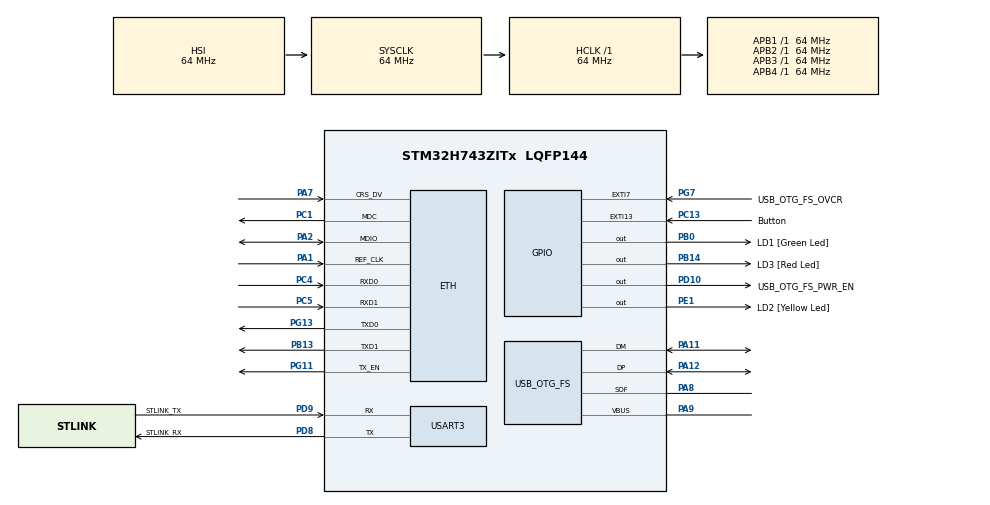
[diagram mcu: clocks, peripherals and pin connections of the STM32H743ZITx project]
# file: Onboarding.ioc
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ETH.MediaInterface=HAL_ETH_RMII_MODE
Mcu.Family=STM32H7
Mcu.Name=STM32H743ZITx
Mcu.Package=LQFP144
NVIC.EXTI15_10_IRQn=true\:0\:0\:false\:false\:true\:true\:true\:true
NVIC.EXTI9_5_IRQn=true\:0\:0\:false\:false\:true\:true\:true\:true
NVIC.PriorityGroup=NVIC_PRIORITYGROUP_4
NVIC.TIM16_IRQn=true\:0\:0\:false\:false\:true\:true\:true\:true
PA1.Mode=RMII
PA1.Signal=ETH_REF_CLK
PA11.Mode=Device_Only
PA11.Signal=USB_OTG_FS_DM
PA12.Mode=Device_Only
PA12.Signal=USB_OTG_FS_DP
PA2.Mode=RMII
PA2.Signal=ETH_MDIO
PA7.Mode=RMII
PA7.Signal=ETH_CRS_DV
PA8.Mode=Activate_SOF_FS
PA8.Signal=USB_OTG_FS_SOF
PA9.Mode=Activate_VBUS
PA9.Signal=USB_OTG_FS_VBUS
PB0.GPIO_Label=LD1 [Green Led]
PB0.Signal=GPIO_Output
PB13.Mode=RMII
PB13.Signal=ETH_TXD1
PB14.GPIO_Label=LD3 [Red Led]
PB14.Signal=GPIO_Output
PC1.Mode=RMII
PC1.Signal=ETH_MDC
PC13.GPIO_Label=Button
PC13.GPIO_PuPd=GPIO_NOPULL
PC13.Signal=GPXTI13
PC14-OSC32_IN\ (OSC32_IN).Mode=LSE-External-Oscillator
PC14-OSC32_IN\ (OSC32_IN).Signal=RCC_OSC32_IN
PC15-OSC32_OUT\ (OSC32_OUT).Mode=LSE-External-Oscillator
PC15-OSC32_OUT\ (OSC32_OUT).Signal=RCC_OSC32_OUT
PC4.Mode=RMII
PC4.Signal=ETH_RXD0
PC5.Mode=RMII
PC5.Signal=ETH_RXD1
PD10.GPIO_Label=USB_OTG_FS_PWR_EN
PD10.Signal=GPIO_Output
PD8.GPIO_Label=STLINK_RX
PD8.Mode=Asynchronous
PD8.Signal=USART3_TX
PD9.GPIO_Label=STLINK_TX
PD9.Mode=Asynchronous
PD9.Signal=USART3_RX
PE1.GPIO_Label=LD2 [Yellow Led]
PE1.Signal=GPIO_Output
PG11.Mode=RMII
PG11.Signal=ETH_TX_EN
PG13.Mode=RMII
PG13.Signal=ETH_TXD0
PG7.GPIO_Label=USB_OTG_FS_OVCR
PG7.Signal=GPXTI7
PH0-OSC_IN\ (PH0).Mode=HSE-External-Clock-Source
PH0-OSC_IN\ (PH0).Signal=RCC_OSC_IN
PH1-OSC_OUT\ (PH1).Signal=RCC_OSC_OUT
ProjectManager.HeapSize=0x200
ProjectManager.StackSize=0x400
ProjectManager.TargetToolchain=STM32CubeIDE
RCC.ADCFreq_Value=16125000
RCC.APB1Freq_Value=64000000
RCC.APB2Freq_Value=64000000
RCC.APB3Freq_Value=64000000
RCC.APB4Freq_Value=64000000
RCC.CortexFreq_Value=64000000
RCC.DIVM1=1
RCC.DIVN1=24
RCC.DIVQ1=4
RCC.HCLKFreq_Value=64000000
RCC.HSE_VALUE=8000000
RCC.PLLFRACN=0
RCC.PWR_Regulator_Voltage_Scale=PWR_REGULATOR_VOLTAGE_SCALE2
RCC.SYSCLKFreq_VALUE=64000000
RCC.USBFreq_Value=48000000
TIM16.Period=1250-1
TIM16.Prescaler=6400-1
USART3.VirtualMode-Asynchronous=VM_ASYNC
USB_OTG_FS.VirtualMode=Device_Only
VP_TIM16_VS_ClockSourceINT.Mode=Enable_Timer
board=NUCLEO-H743ZI2

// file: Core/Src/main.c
/* USER CODE BEGIN Header */
/**
  ******************************************************************************
  * @file           : main.c
  * @brief          : Main program body
  ******************************************************************************
  * @attention
  *
  * Copyright (c) 2022 STMicroelectronics.
  * All rights reserved.
  *
  * This software is licensed under terms that can be found in the LICENSE file
  * in the root directory of this software component.
  * If no LICENSE file comes with this software, it is provided AS-IS.
  *
  ******************************************************************************
  */
/* USER CODE END Header */
#include "main.h"
#include "string.h"

#if defined ( __ICCARM__ ) /*!< IAR Compiler */
#pragma location=0x30000000
ETH_DMADescTypeDef  DMARxDscrTab[ETH_RX_DESC_CNT]; /* Ethernet Rx DMA Descriptors */
#pragma location=0x30000200
ETH_DMADescTypeDef  DMATxDscrTab[ETH_TX_DESC_CNT]; /* Ethernet Tx DMA Descriptors */

#elif defined ( __CC_ARM )  /* MDK ARM Compiler */

__attribute__((at(0x30000000))) ETH_DMADescTypeDef  DMARxDscrTab[ETH_RX_DESC_CNT]; /* Ethernet Rx DMA Descriptors */
__attribute__((at(0x30000200))) ETH_DMADescTypeDef  DMATxDscrTab[ETH_TX_DESC_CNT]; /* Ethernet Tx DMA Descriptors */

#elif defined ( __GNUC__ ) /* GNU Compiler */
ETH_DMADescTypeDef DMARxDscrTab[ETH_RX_DESC_CNT] __attribute__((section(".RxDecripSection"))); /* Ethernet Rx DMA Descriptors */
ETH_DMADescTypeDef DMATxDscrTab[ETH_TX_DESC_CNT] __attribute__((section(".TxDecripSection")));   /* Ethernet Tx DMA Descriptors */

#endif

ETH_TxPacketConfig TxConfig;

ETH_HandleTypeDef heth;

TIM_HandleTypeDef htim16;

UART_HandleTypeDef huart3;

PCD_HandleTypeDef hpcd_USB_OTG_FS;

void SystemClock_Config(void);
static void MX_GPIO_Init(void);
static void MX_ETH_Init(void);
static void MX_USART3_UART_Init(void);
static void MX_USB_OTG_FS_PCD_Init(void);
static void MX_TIM16_Init(void);

/* USER CODE BEGIN 0 */
uint8_t cnt = 0; //LED Count
uint8_t cycles = 0; //Clock count
uint8_t update = 0; //Update the current pin (1/0)
/* USER CODE END 0 */

int main(void)
{

  /* MCU Configuration--------------------------------------------------------*/

  /* Reset of all peripherals, Initializes the Flash interface and the Systick. */
  HAL_Init();

  /* Configure the system clock */
  SystemClock_Config();

  /* Initialize all configured peripherals */
  MX_GPIO_Init();
  MX_ETH_Init();
  MX_USART3_UART_Init();
  MX_USB_OTG_FS_PCD_Init();
  MX_TIM16_Init();

  /* Infinite loop */
  /* USER CODE BEGIN WHILE */
  HAL_TIM_Base_Start_IT(&htim16);
  while (1)
  {
    /* USER CODE END WHILE */

    /* USER CODE BEGIN 3 */
	  if(!update) continue;
	  update = 0;
  	  if(cnt == 0){
  		  //HAL_GPIO_TogglePin(GPIOB, GPIO_PIN_0);
  		  //Toggle GPIOB Pin 0
  		  GPIOB->ODR ^= 1;
  	  }
  	  else if(cnt == 1){
  		  //Toggle GPIOE Pin 1
  		  HAL_GPIO_TogglePin(GPIOE, GPIO_PIN_1);
  		  //GPIOE->ODR ^= 1<<1;
  	  }
  	  else{
  		  //HAL_GPIO_TogglePin(GPIOB, GPIO_PIN_14);
  		  //Toggle GPIOB Pin 14
  		  GPIOB->ODR ^= 1<<14;
  	  }
  }
  /* USER CODE END 3 */
}

void SystemClock_Config(void)
{
  RCC_OscInitTypeDef RCC_OscInitStruct = {0};
  RCC_ClkInitTypeDef RCC_ClkInitStruct = {0};

  /** Supply configuration update enable
  */
  HAL_PWREx_ConfigSupply(PWR_LDO_SUPPLY);

  /** Configure the main internal regulator output voltage
  */
  __HAL_PWR_VOLTAGESCALING_CONFIG(PWR_REGULATOR_VOLTAGE_SCALE2);

  while(!__HAL_PWR_GET_FLAG(PWR_FLAG_VOSRDY)) {}

  /** Initializes the RCC Oscillators according to the specified parameters
  * in the RCC_OscInitTypeDef structure.
  */
  RCC_OscInitStruct.OscillatorType = RCC_OSCILLATORTYPE_HSI|RCC_OSCILLATORTYPE_HSE;
  RCC_OscInitStruct.HSEState = RCC_HSE_BYPASS;
  RCC_OscInitStruct.HSIState = RCC_HSI_DIV1;
  RCC_OscInitStruct.HSICalibrationValue = RCC_HSICALIBRATION_DEFAULT;
  RCC_OscInitStruct.PLL.PLLState = RCC_PLL_ON;
  RCC_OscInitStruct.PLL.PLLSource = RCC_PLLSOURCE_HSE;
  RCC_OscInitStruct.PLL.PLLM = 1;
  RCC_OscInitStruct.PLL.PLLN = 24;
  RCC_OscInitStruct.PLL.PLLP = 2;
  RCC_OscInitStruct.PLL.PLLQ = 4;
  RCC_OscInitStruct.PLL.PLLR = 2;
  RCC_OscInitStruct.PLL.PLLRGE = RCC_PLL1VCIRANGE_3;
  RCC_OscInitStruct.PLL.PLLVCOSEL = RCC_PLL1VCOWIDE;
  RCC_OscInitStruct.PLL.PLLFRACN = 0;
  if (HAL_RCC_OscConfig(&RCC_OscInitStruct) != HAL_OK)
  {
    Error_Handler();
  }

  /** Initializes the CPU, AHB and APB buses clocks
  */
  RCC_ClkInitStruct.ClockType = RCC_CLOCKTYPE_HCLK|RCC_CLOCKTYPE_SYSCLK
                              |RCC_CLOCKTYPE_PCLK1|RCC_CLOCKTYPE_PCLK2
                              |RCC_CLOCKTYPE_D3PCLK1|RCC_CLOCKTYPE_D1PCLK1;
  RCC_ClkInitStruct.SYSCLKSource = RCC_SYSCLKSOURCE_HSI;
  RCC_ClkInitStruct.SYSCLKDivider = RCC_SYSCLK_DIV1;
  RCC_ClkInitStruct.AHBCLKDivider = RCC_HCLK_DIV1;
  RCC_ClkInitStruct.APB3CLKDivider = RCC_APB3_DIV1;
  RCC_ClkInitStruct.APB1CLKDivider = RCC_APB1_DIV1;
  RCC_ClkInitStruct.APB2CLKDivider = RCC_APB2_DIV1;
  RCC_ClkInitStruct.APB4CLKDivider = RCC_APB4_DIV1;

  if (HAL_RCC_ClockConfig(&RCC_ClkInitStruct, FLASH_LATENCY_1) != HAL_OK)
  {
    Error_Handler();
  }
}

static void MX_ETH_Init(void)
{

   static uint8_t MACAddr[6];

  heth.Instance = ETH;
  MACAddr[0] = 0x00;
  MACAddr[1] = 0x80;
  MACAddr[2] = 0xE1;
  MACAddr[3] = 0x00;
  MACAddr[4] = 0x00;
  MACAddr[5] = 0x00;
  heth.Init.MACAddr = &MACAddr[0];
  heth.Init.MediaInterface = HAL_ETH_RMII_MODE;
  heth.Init.TxDesc = DMATxDscrTab;
  heth.Init.RxDesc = DMARxDscrTab;
  heth.Init.RxBuffLen = 1524;

  if (HAL_ETH_Init(&heth) != HAL_OK)
  {
    Error_Handler();
  }

  memset(&TxConfig, 0 , sizeof(ETH_TxPacketConfig));
  TxConfig.Attributes = ETH_TX_PACKETS_FEATURES_CSUM | ETH_TX_PACKETS_FEATURES_CRCPAD;
  TxConfig.ChecksumCtrl = ETH_CHECKSUM_IPHDR_PAYLOAD_INSERT_PHDR_CALC;
  TxConfig.CRCPadCtrl = ETH_CRC_PAD_INSERT;

}

static void MX_TIM16_Init(void)
{

  htim16.Instance = TIM16;
  htim16.Init.Prescaler = 6400-1;
  htim16.Init.CounterMode = TIM_COUNTERMODE_UP;
  htim16.Init.Period = 1250-1;
  htim16.Init.ClockDivision = TIM_CLOCKDIVISION_DIV1;
  htim16.Init.RepetitionCounter = 0;
  htim16.Init.AutoReloadPreload = TIM_AUTORELOAD_PRELOAD_DISABLE;
  if (HAL_TIM_Base_Init(&htim16) != HAL_OK)
  {
    Error_Handler();
  }

}

static void MX_USART3_UART_Init(void)
{

  huart3.Instance = USART3;
  huart3.Init.BaudRate = 115200;
  huart3.Init.WordLength = UART_WORDLENGTH_8B;
  huart3.Init.StopBits = UART_STOPBITS_1;
  huart3.Init.Parity = UART_PARITY_NONE;
  huart3.Init.Mode = UART_MODE_TX_RX;
  huart3.Init.HwFlowCtl = UART_HWCONTROL_NONE;
  huart3.Init.OverSampling = UART_OVERSAMPLING_16;
  huart3.Init.OneBitSampling = UART_ONE_BIT_SAMPLE_DISABLE;
  huart3.Init.ClockPrescaler = UART_PRESCALER_DIV1;
  huart3.AdvancedInit.AdvFeatureInit = UART_ADVFEATURE_NO_INIT;
  if (HAL_UART_Init(&huart3) != HAL_OK)
  {
    Error_Handler();
  }
  if (HAL_UARTEx_SetTxFifoThreshold(&huart3, UART_TXFIFO_THRESHOLD_1_8) != HAL_OK)
  {
    Error_Handler();
  }
  if (HAL_UARTEx_SetRxFifoThreshold(&huart3, UART_RXFIFO_THRESHOLD_1_8) != HAL_OK)
  {
    Error_Handler();
  }
  if (HAL_UARTEx_DisableFifoMode(&huart3) != HAL_OK)
  {
    Error_Handler();
  }

}

static void MX_USB_OTG_FS_PCD_Init(void)
{

  hpcd_USB_OTG_FS.Instance = USB_OTG_FS;
  hpcd_USB_OTG_FS.Init.dev_endpoints = 9;
  hpcd_USB_OTG_FS.Init.speed = PCD_SPEED_FULL;
  hpcd_USB_OTG_FS.Init.dma_enable = DISABLE;
  hpcd_USB_OTG_FS.Init.phy_itface = PCD_PHY_EMBEDDED;
  hpcd_USB_OTG_FS.Init.Sof_enable = ENABLE;
  hpcd_USB_OTG_FS.Init.low_power_enable = DISABLE;
  hpcd_USB_OTG_FS.Init.lpm_enable = DISABLE;
  hpcd_USB_OTG_FS.Init.battery_charging_enable = ENABLE;
  hpcd_USB_OTG_FS.Init.vbus_sensing_enable = ENABLE;
  hpcd_USB_OTG_FS.Init.use_dedicated_ep1 = DISABLE;
  if (HAL_PCD_Init(&hpcd_USB_OTG_FS) != HAL_OK)
  {
    Error_Handler();
  }

}

static void MX_GPIO_Init(void)
{
  GPIO_InitTypeDef GPIO_InitStruct = {0};

  /* GPIO Ports Clock Enable */
  __HAL_RCC_GPIOC_CLK_ENABLE();
  __HAL_RCC_GPIOH_CLK_ENABLE();
  __HAL_RCC_GPIOA_CLK_ENABLE();
  __HAL_RCC_GPIOB_CLK_ENABLE();
  __HAL_RCC_GPIOD_CLK_ENABLE();
  __HAL_RCC_GPIOG_CLK_ENABLE();
  __HAL_RCC_GPIOE_CLK_ENABLE();

  /*Configure GPIO pin Output Level */
  HAL_GPIO_WritePin(GPIOB, LD1_Pin|LD3_Pin, GPIO_PIN_RESET);

  /*Configure GPIO pin Output Level */
  HAL_GPIO_WritePin(USB_OTG_FS_PWR_EN_GPIO_Port, USB_OTG_FS_PWR_EN_Pin, GPIO_PIN_RESET);

  /*Configure GPIO pin Output Level */
  HAL_GPIO_WritePin(LD2_GPIO_Port, LD2_Pin, GPIO_PIN_RESET);

  /*Configure GPIO pin : Button_Pin */
  GPIO_InitStruct.Pin = Button_Pin;
  GPIO_InitStruct.Mode = GPIO_MODE_IT_RISING;
  GPIO_InitStruct.Pull = GPIO_NOPULL;
  HAL_GPIO_Init(Button_GPIO_Port, &GPIO_InitStruct);

  /*Configure GPIO pins : LD1_Pin LD3_Pin */
  GPIO_InitStruct.Pin = LD1_Pin|LD3_Pin;
  GPIO_InitStruct.Mode = GPIO_MODE_OUTPUT_PP;
  GPIO_InitStruct.Pull = GPIO_NOPULL;
  GPIO_InitStruct.Speed = GPIO_SPEED_FREQ_LOW;
  HAL_GPIO_Init(GPIOB, &GPIO_InitStruct);

  /*Configure GPIO pin : USB_OTG_FS_PWR_EN_Pin */
  GPIO_InitStruct.Pin = USB_OTG_FS_PWR_EN_Pin;
  GPIO_InitStruct.Mode = GPIO_MODE_OUTPUT_PP;
  GPIO_InitStruct.Pull = GPIO_NOPULL;
  GPIO_InitStruct.Speed = GPIO_SPEED_FREQ_LOW;
  HAL_GPIO_Init(USB_OTG_FS_PWR_EN_GPIO_Port, &GPIO_InitStruct);

  /*Configure GPIO pin : USB_OTG_FS_OVCR_Pin */
  GPIO_InitStruct.Pin = USB_OTG_FS_OVCR_Pin;
  GPIO_InitStruct.Mode = GPIO_MODE_IT_RISING;
  GPIO_InitStruct.Pull = GPIO_NOPULL;
  HAL_GPIO_Init(USB_OTG_FS_OVCR_GPIO_Port, &GPIO_InitStruct);

  /*Configure GPIO pin : LD2_Pin */
  GPIO_InitStruct.Pin = LD2_Pin;
  GPIO_InitStruct.Mode = GPIO_MODE_OUTPUT_PP;
  GPIO_InitStruct.Pull = GPIO_NOPULL;
  GPIO_InitStruct.Speed = GPIO_SPEED_FREQ_LOW;
  HAL_GPIO_Init(LD2_GPIO_Port, &GPIO_InitStruct);

  /* EXTI interrupt init*/
  HAL_NVIC_SetPriority(EXTI9_5_IRQn, 0, 0);
  HAL_NVIC_EnableIRQ(EXTI9_5_IRQn);

  HAL_NVIC_SetPriority(EXTI15_10_IRQn, 0, 0);
  HAL_NVIC_EnableIRQ(EXTI15_10_IRQn);

}

/* USER CODE BEGIN 4 */
void HAL_GPIO_EXTI_Callback(uint16_t GPIO_Pin){
	if(GPIO_Pin == Button_Pin){
		//Turn off the LED before swapping
		if(cnt == 0){
			HAL_GPIO_WritePin(GPIOB, GPIO_PIN_0, GPIO_PIN_RESET);
		}
		else if(cnt == 1){
			HAL_GPIO_WritePin(GPIOE, GPIO_PIN_1, GPIO_PIN_RESET);
		}
		else{
			HAL_GPIO_WritePin(GPIOB, GPIO_PIN_14, GPIO_PIN_RESET);
		}
		cnt = (cnt+1)%3;
	}
}
void HAL_TIM_PeriodElapsedCallback(TIM_HandleTypeDef *htim){
	if(htim == &htim16){
		cycles++;
	}
	//64 MHZ/6400 = 10 KHZ
	//Period is 1250, so 1 cycle every 1/8 second
	if(cnt == 0 && cycles >= 4){
		update = 1;
		cycles = 0;
	}
	else if(cnt == 1 && cycles >= 2){
		update = 1;
		cycles = 0;
	}
	else if(cnt == 2 && cycles >= 1){
		update = 1;
		cycles = 0;
	}
}

/* USER CODE END 4 */

void Error_Handler(void)
{
  __disable_irq();
  while (1)
  {
  }
}
